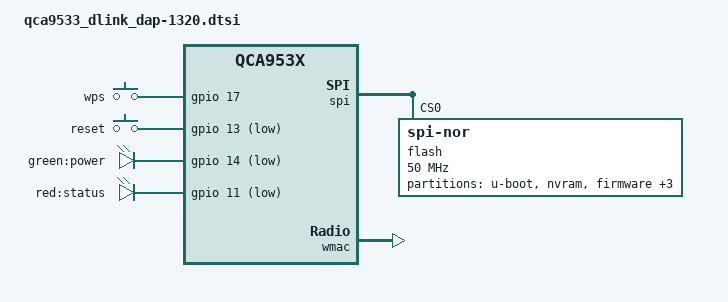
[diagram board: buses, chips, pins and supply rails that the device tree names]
// SPDX-License-Identifier: GPL-2.0-or-later OR MIT

#include <dt-bindings/gpio/gpio.h>
#include <dt-bindings/input/input.h>

#include "qca953x.dtsi"

/ {
	aliases {
		led-boot = &led_power;
		led-failsafe = &led_status;
		led-running = &led_power;
		led-upgrade = &led_status;
	};

	keys {
		compatible = "gpio-keys";

		wps {
			label = "wps";
			linux,code = <KEY_WPS_BUTTON>;
			gpios = <&gpio 17 GPIO_ACTIVE_HIGH>;
		};

		reset {
			label = "reset";
			linux,code = <KEY_RESTART>;
			gpios = <&gpio 13 GPIO_ACTIVE_LOW>;
		};
	};

	leds {
		compatible = "gpio-leds";

		led_power: power {
			label = "green:power";
			gpios = <&gpio 14 GPIO_ACTIVE_LOW>;
			default-state = "on";
		};

		led_status: status {
			label = "red:status";
			gpios = <&gpio 11 GPIO_ACTIVE_LOW>;
		};
	};
};

&spi {
	status = "okay";

	flash@0 {
		compatible = "jedec,spi-nor";
		reg = <0>;
		spi-max-frequency = <50000000>;

		partitions {
			compatible = "fixed-partitions";
			#address-cells = <1>;
			#size-cells = <1>;

			partition@0 {
				label = "u-boot";
				reg = <0x0 0x10000>;
				read-only;
			};

			partition@10000 {
				label = "nvram";
				reg = <0x10000 0x10000>;
				read-only;
			};

			partition@20000 {
				label = "firmware";
				reg = <0x20000 0x540000>;
				compatible = "denx,uimage";
			};

			partition@560000 {
				label = "linux4b";
				reg = <0x560000 0x290000>;
				read-only;
			};

			partition@610000 {
				label = "rootfsb";
				reg = <0x610000 0x1e0000>;
				read-only;
			};

			partition@7f0000 {
				label = "art";
				reg = <0x7f0000 0x10000>;
				read-only;

				compatible = "nvmem-cells";
				#address-cells = <1>;
				#size-cells = <1>;

				cal_art_1000: cal@1000 {
					reg = <0x1000 0x440>;
				};
			};
		};
	};
};

&wmac {
	status = "okay";

	nvmem-cells = <&cal_art_1000>;
	nvmem-cell-names = "calibration";
};
